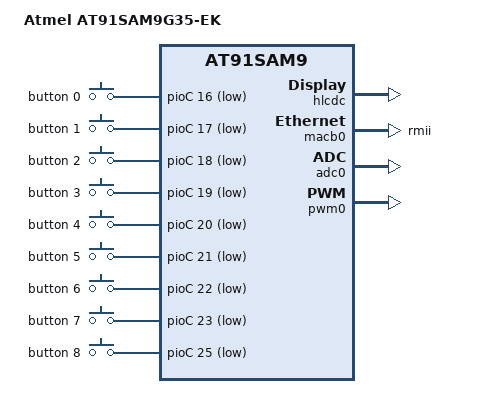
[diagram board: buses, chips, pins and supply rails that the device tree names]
/*
 * at91sam9g35ek.dts - Device Tree file for AT91SAM9G35-EK board
 *
 *  Copyright (C) 2012 Atmel,
 *                2012 Nicolas Ferre <nicolas.ferre@atmel.com>
 *
 * Licensed under GPLv2 or later.
 */
/dts-v1/;
#include "at91sam9g35.dtsi"
#include "at91sam9x5dm.dtsi"
#include "at91sam9x5ek.dtsi"
#include <dt-bindings/input/input.h>
/ {
	model = "Atmel AT91SAM9G35-EK";
	compatible = "atmel,at91sam9g35ek", "atmel,at91sam9x5ek", "atmel,at91sam9x5", "atmel,at91sam9";

	ahb {
		apb {
			hlcdc: hlcdc@f8038000 {
				status = "okay";
			};

			macb0: ethernet@f802c000 {
				phy-mode = "rmii";
				status = "okay";
			};

			adc0: adc@f804c000 {
				status = "okay";
			};

			pwm0: pwm@f8034000 {
				status = "okay";  
			}; 
 			rtc@fffffeb0 {
    				status = "okay";
  			};
    		};

   	};
 
	bl_reg: backlight_regulator {
		status = "okay";
	};

	panel_reg: panel_regulator {
		status = "okay";
	};

	backlight: backlight {
		status = "okay";
	};

	panel: panel {
		status = "okay";
	};


  gpio_keys {
    compatible = "gpio-keys";
    poll-interval = <100>;
    /* autorepeat; */
    /* Keypad button is Back */
    button_0 {
      debounce_interval = <50>;
      label = "button 0";
      gpios = <&pioC 16 GPIO_ACTIVE_LOW>;
      linux,code = <KEY_HOME>;
      /* gpio-key,wakeup; */
    };

    /* Keypad button is READING*/
  button_1 {
      debounce_interval = <50>;
      label = "button 1";
      gpios = <&pioC 17 GPIO_ACTIVE_LOW>;
      linux,code = <KEY_R>;
      /* gpio-key,wakeup; */
    };

   /* Keypad button is RIGHT ARROW */
  button_2 {
      debounce_interval = <50>;
      label = "button 2";
      gpios = <&pioC 18 GPIO_ACTIVE_LOW>;
      linux,code = <KEY_RIGHT>;
      /* gpio-key,wakeup; */
    };


   /* Keypad button is UP ARROW */
   button_3 {
      debounce_interval = <50>;
      label = "button 3";
      gpios = <&pioC 19 GPIO_ACTIVE_LOW>;
      linux,code = <KEY_UP>;
      /* gpio-key,wakeup; */
    };



    /* Keypad button is ENTER*/
    button_4 {
      debounce_interval = <50>;
      label = "button 4";
      gpios = <&pioC 20 GPIO_ACTIVE_LOW>;
      linux,code = <KEY_ENTER>;
      /* gpio-key,wakeup; */
    };

    /* Keypad button is DOWN ARROW */
    button_5 {
      debounce_interval = <50>;
      label = "button 5";
      gpios = <&pioC 21 GPIO_ACTIVE_LOW>;
      linux,code = <KEY_DOWN>;
      /* gpio-key,wakeup; */
    };

    /* Keypad button is LEFT ARROW */
    button_6 {
      debounce_interval = <50>;
      label = "button 6";
      gpios = <&pioC 22 GPIO_ACTIVE_LOW>;
      linux,code = <KEY_LEFT>;
      /* gpio-key,wakeup; */
    };

    /* Keypad button MUTE */
    button_7 {
      debounce_interval = <50>;
      label = "button 7";
      gpios = <&pioC 23 GPIO_ACTIVE_LOW>;
      linux,code = <KEY_M>;
      /* gpio-key,wakeup; */
    };

  /* Keypad button Menu */
    button_8 {
      debounce_interval = <50>;
      label = "button 8";
 
      gpios = <&pioC 25 GPIO_ACTIVE_LOW>;
      linux,code = <KEY_Q>;
      /* gpio-key,wakeup; */
    };

  };
  
     
};
